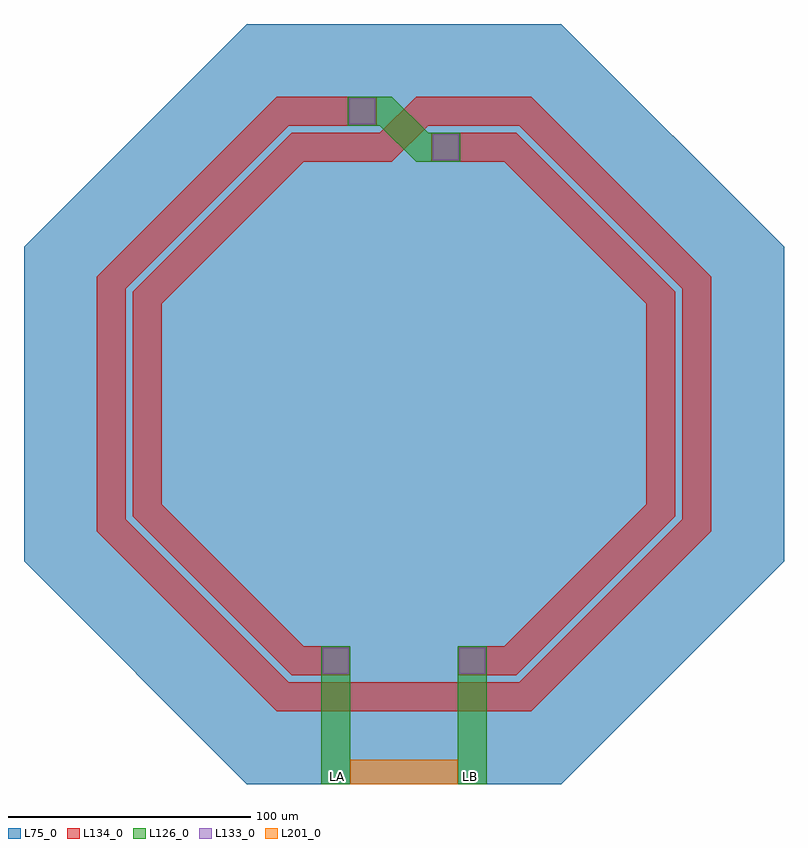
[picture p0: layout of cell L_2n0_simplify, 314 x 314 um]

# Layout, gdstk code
import gdstk
lib = gdstk.Library(unit=1e-6, precision=5e-09)
def R(c, l, rs):  # rectangles x0, y0, x1, y1
    for r in rs: c.add(gdstk.rectangle(r[:2], r[2:], *l))
def P(c, l, *ps):  # polygons
    for p in ps: c.add(gdstk.Polygon(p, *l))
L75_0 = (75, 0)
L126_0 = (126, 0)
L133_0 = (133, 0)
L134_0 = (134, 0)
L201_0 = (201, 0)

l_2n0_simplify = lib.new_cell('L_2n0_simplify')
P(l_2n0_simplify, L75_0, [(-65.03,0),(-157,91.97),(-157,222.03),(-65.03,314),(65.03,314),(157,222.03),(157,91.97),(65.03,0)])
R(l_2n0_simplify, L126_0, [(-34.2,0,-22.2,57), (22.2,0,34.2,57)])
P(l_2n0_simplify, L126_0, [(5.015,257),(-9.985,272),(-23.23,272),(-23.23,284),(-5.015,284),(9.985,269),(23.23,269),(23.23,257)])
R(l_2n0_simplify, L133_0, [(-33.58,45.62,-22.83,56.37), (22.82,45.62,33.57,56.37), (11.85,257.62,22.6,268.37), (-22.61,272.62,-11.86,283.37)])
P(l_2n0_simplify, L134_0, [(22.2,45),(22.2,57),(41.425,57),(100,115.575),(100,198.425),(41.425,257),(11.23,257),(11.23,269),(46.395,269),(112,203.395),(112,110.605),(46.395,45)],
  [(-52.605,30),(-127,104.395),(-127,209.605),(-52.605,284),(-11.23,284),(-11.23,272),(-47.635,272),(-115,204.635),(-115,109.365),(-47.635,42),(47.635,42),(115,109.365),(115,204.635),(47.635,272),(9.985,272),(-5.015,257),(-41.425,257),(-100,198.425),(-100,115.575),(-41.425,57),(-22.2,57),(-22.2,45),(-46.395,45),(-112,110.605),(-112,203.395),(-46.395,269),(-9.985,269),(5.015,284),(52.605,284),(127,209.605),(127,104.395),(52.605,30)])
R(l_2n0_simplify, L201_0, [(-22.2,0,22.2,10)])
l_2n0_simplify.add(gdstk.Label('LB', (27.5,3), layer=63, texttype=0))
l_2n0_simplify.add(gdstk.Label('LA', (-27.5,3), layer=63, texttype=0))

lib.write_gds('L_2n0_simplify.gds')
